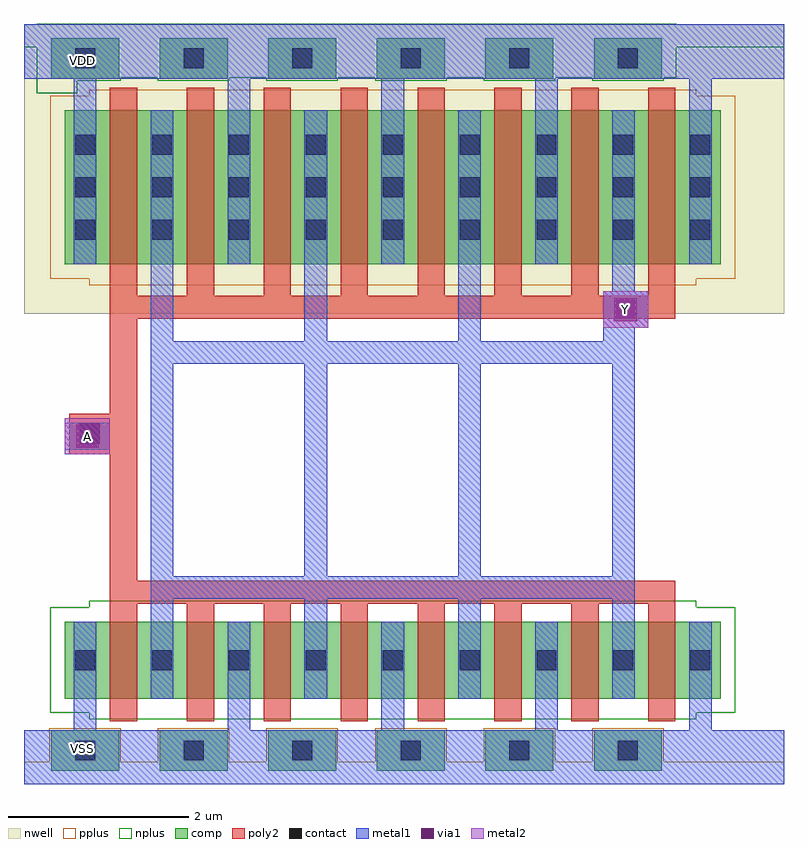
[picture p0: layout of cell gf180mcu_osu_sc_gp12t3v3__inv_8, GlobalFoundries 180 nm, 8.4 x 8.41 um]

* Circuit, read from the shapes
.subckt gf180mcu_osu_sc_gp12t3v3__inv_8 A VDD VSS Y
XM1 Y A VSS VSS nfet_03v3 w=0.85u l=0.3u m=8
XM2 Y A VDD VDD pfet_03v3 w=1.7u l=0.3u m=8
.ends

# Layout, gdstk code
import gdstk
lib = gdstk.Library(unit=1e-6, precision=1e-09)
def R(c, l, rs):  # rectangles x0, y0, x1, y1
    for r in rs: c.add(gdstk.rectangle(r[:2], r[2:], *l))
def A(c, l, x, y, w, h, nx, ny, dx, dy):  # array of equal rectangles
    R(c, l, [(x+i*dx, y+j*dy, x+i*dx+w, y+j*dy+h) for i in range(nx) for j in range(ny)])
nwell = (21, 0)
comp = (22, 0)
poly2 = (30, 0)
pplus = (31, 0)
nplus = (32, 0)
contact = (33, 0)
metal1 = (34, 0)
via1 = (35, 0)
metal2 = (36, 0)

gf180mcu_osu_sc_gp12t3v3 = lib.new_cell('gf180mcu_osu_sc_gp12t3v3__inv_8')
R(gf180mcu_osu_sc_gp12t3v3, nwell, [(0,5.2,8.4,8.4)])
A(gf180mcu_osu_sc_gp12t3v3, comp, 0.3, 0.15, 0.75, 0.45, 6, 2, 1.2, 7.65)
R(gf180mcu_osu_sc_gp12t3v3, comp, [(0.45,0.95,7.7,1.8), (0.45,5.75,7.7,7.45)])
A(gf180mcu_osu_sc_gp12t3v3, poly2, 0.95, 0.7, 0.3, 1.3, 8, 1, 0.85, 0)
A(gf180mcu_osu_sc_gp12t3v3, poly2, 0.95, 5.4, 0.3, 2.3, 8, 1, 0.85, 0)
R(gf180mcu_osu_sc_gp12t3v3, poly2, [(0.95,2,7.2,2.25), (0.95,2.25,1.25,3.65), (0.5,3.65,1.25,4.1), (0.95,4.1,1.25,5.15), (0.95,5.15,7.2,5.4)])
A(gf180mcu_osu_sc_gp12t3v3, pplus, 0.28, 0.13, 0.79, 0.49, 6, 1, 1.2, 0)
R(gf180mcu_osu_sc_gp12t3v3, pplus, [(0,0,8.4,0.25), (0.72,5.52,7.43,5.59), (0.29,5.59,7.86,7.61), (0.72,7.61,7.43,7.68)])
A(gf180mcu_osu_sc_gp12t3v3, nplus, 1.48, 7.78, 0.79, 0.03, 5, 1, 1.2, 0)
R(gf180mcu_osu_sc_gp12t3v3, nplus, [(0.72,0.72,7.43,0.79), (0.29,0.79,7.86,1.96), (0.72,1.96,7.43,2.03), (0.14,7.64,0.59,7.78), (0.14,7.78,1.07,7.81), (0.14,7.81,7.21,8.15), (0,8.15,8.4,8.4), (0,8.15,8.4,8.4), (0.14,8.4,7.21,8.41)])
A(gf180mcu_osu_sc_gp12t3v3, contact, 0.565, 0.265, 0.22, 0.22, 6, 2, 1.2, 7.65)
A(gf180mcu_osu_sc_gp12t3v3, contact, 0.565, 1.265, 0.22, 0.22, 9, 2, 0.85, 4.755)
A(gf180mcu_osu_sc_gp12t3v3, contact, 0.565, 6.49, 0.22, 0.22, 9, 2, 0.85, 0.47)
R(gf180mcu_osu_sc_gp12t3v3, contact, [(0.615,3.765,0.835,3.985)])
A(gf180mcu_osu_sc_gp12t3v3, metal1, 0.55, 0.6, 0.25, 1.2, 5, 1, 1.7, 0)
A(gf180mcu_osu_sc_gp12t3v3, metal1, 1.4, 0.95, 0.25, 1.1, 4, 1, 1.7, 0)
A(gf180mcu_osu_sc_gp12t3v3, metal1, 1.4, 2.3, 0.25, 2.35, 4, 1, 1.7, 0)
A(gf180mcu_osu_sc_gp12t3v3, metal1, 1.4, 4.9, 0.25, 2.55, 3, 1, 1.7, 0)
A(gf180mcu_osu_sc_gp12t3v3, metal1, 0.55, 5.75, 0.25, 2.05, 5, 1, 1.7, 0)
R(gf180mcu_osu_sc_gp12t3v3, metal1, [(0,0,8.4,0.6), (1.4,2.05,6.75,2.3), (0.45,3.7,0.95,4), (1.4,4.65,6.75,4.9), (6.4,4.9,6.75,5.05), (6.4,5.05,6.9,5.45), (6.5,5.45,6.75,7.45), (0,7.8,8.4,8.4)])
R(gf180mcu_osu_sc_gp12t3v3, via1, [(0.57,3.72,0.83,3.98), (6.52,5.12,6.78,5.38)])
R(gf180mcu_osu_sc_gp12t3v3, metal2, [(0.45,3.65,0.95,4.05), (6.4,5.05,6.9,5.45)])
gf180mcu_osu_sc_gp12t3v3.add(gdstk.Label('A', (0.7,3.85), layer=36, texttype=10))
gf180mcu_osu_sc_gp12t3v3.add(gdstk.Label('Y', (6.65,5.25), layer=36, texttype=10))
gf180mcu_osu_sc_gp12t3v3.add(gdstk.Label('VDD', (0.65,8), layer=34, texttype=10))
gf180mcu_osu_sc_gp12t3v3.add(gdstk.Label('VSS', (0.65,0.4), layer=34, texttype=10))

lib.write_gds('gf180mcu_osu_sc_gp12t3v3__inv_8.gds')
